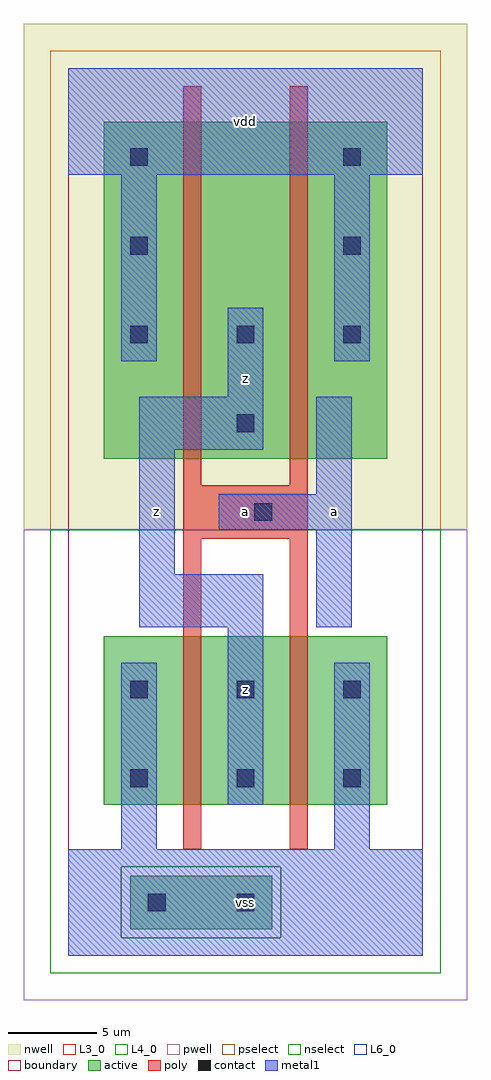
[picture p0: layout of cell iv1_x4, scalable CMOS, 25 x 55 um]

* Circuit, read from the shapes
.subckt iv1_x4 a vdd vss z
M1 z a vss vss nfet w=9.5u l=1u m=2
M2 z a vdd n1 pfet w=19u l=1u m=2
.ends

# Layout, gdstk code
import gdstk
lib = gdstk.Library(unit=1e-6, precision=1e-09)
def R(c, l, rs):  # rectangles x0, y0, x1, y1
    for r in rs: c.add(gdstk.rectangle(r[:2], r[2:], *l))
def A(c, l, x, y, w, h, nx, ny, dx, dy):  # array of equal rectangles
    R(c, l, [(x+i*dx, y+j*dy, x+i*dx+w, y+j*dy+h) for i in range(nx) for j in range(ny)])
L3_0 = (3, 0)
L4_0 = (4, 0)
L6_0 = (6, 0)
contact = (25, 0)
pwell = (41, 0)
nwell = (42, 0)
active = (43, 0)
pselect = (44, 0)
nselect = (45, 0)
poly = (46, 0)
metal1 = (49, 0)
boundary = (63, 0)

iv1_x4 = lib.new_cell('iv1_x4')
R(iv1_x4, L3_0, [(2,8.5,18,18)])
R(iv1_x4, L4_0, [(2,28,18,47)])
R(iv1_x4, L6_0, [(3.5,1.5,11.5,4.5)])
A(iv1_x4, contact, 3.5, 9.5, 1, 1, 3, 2, 6, 5)
A(iv1_x4, contact, 3.5, 34.5, 1, 1, 3, 1, 6, 0)
R(iv1_x4, contact, [(4.5,2.5,5.5,3.5), (9.5,2.5,10.5,3.5), (10.5,24.5,11.5,25.5), (9.5,29.5,10.5,30.5), (3.5,39.5,4.5,40.5), (15.5,39.5,16.5,40.5), (3.5,44.5,4.5,45.5), (15.5,44.5,16.5,45.5)])
R(iv1_x4, pwell, [(-2.5,-2.5,22.5,24)])
R(iv1_x4, nwell, [(-2.5,24,22.5,52.5)])
R(iv1_x4, active, [(3.5,1.5,11.5,4.5), (2,8.5,18,18), (2,28,18,47)])
R(iv1_x4, pselect, [(3,1,12,5), (-1,24,21,51)])
R(iv1_x4, nselect, [(-1,-1,21,1), (-1,1,3,5), (12,1,21,5), (-1,5,21,24)])
R(iv1_x4, poly, [(6.5,6,7.5,23.5), (12.5,6,13.5,23.5), (6.5,23.5,13.5,26.5), (6.5,26.5,7.5,49), (12.5,26.5,13.5,49)])
R(iv1_x4, metal1, [(0,0,20,6), (0,0,20,6), (3,6,5,16.5), (3,6,5,16.5), (15,6,17,16.5), (15,6,17,16.5), (9,8.5,11,18.5), (9,8.5,11,18.5), (4,18.5,11,21.5), (4,18.5,11,21.5), (14,18.5,16,24), (14,18.5,16,24), (4,21.5,6,28.5), (4,21.5,6,28.5), (8.5,24,16,26), (8.5,24,16,26), (14,26,16,31.5), (14,26,16,31.5), (4,28.5,11,31.5), (4,28.5,11,31.5), (9,31.5,11,36.5), (9,31.5,11,36.5), (3,33.5,5,44), (3,33.5,5,44), (15,33.5,17,44), (15,33.5,17,44), (0,44,20,50), (0,44,20,50)])
R(iv1_x4, boundary, [(0,0,20,50)])
iv1_x4.add(gdstk.Label('z', (5,25), layer=49, texttype=0))
iv1_x4.add(gdstk.Label('vss', (10,3), layer=49, texttype=0))
iv1_x4.add(gdstk.Label('z', (10,15), layer=49, texttype=0))
iv1_x4.add(gdstk.Label('a', (10,25), layer=49, texttype=0))
iv1_x4.add(gdstk.Label('z', (10,32.5), layer=49, texttype=0))
iv1_x4.add(gdstk.Label('vdd', (10,47), layer=49, texttype=0))
iv1_x4.add(gdstk.Label('a', (15,25), layer=49, texttype=0))

lib.write_gds('iv1_x4.gds')
